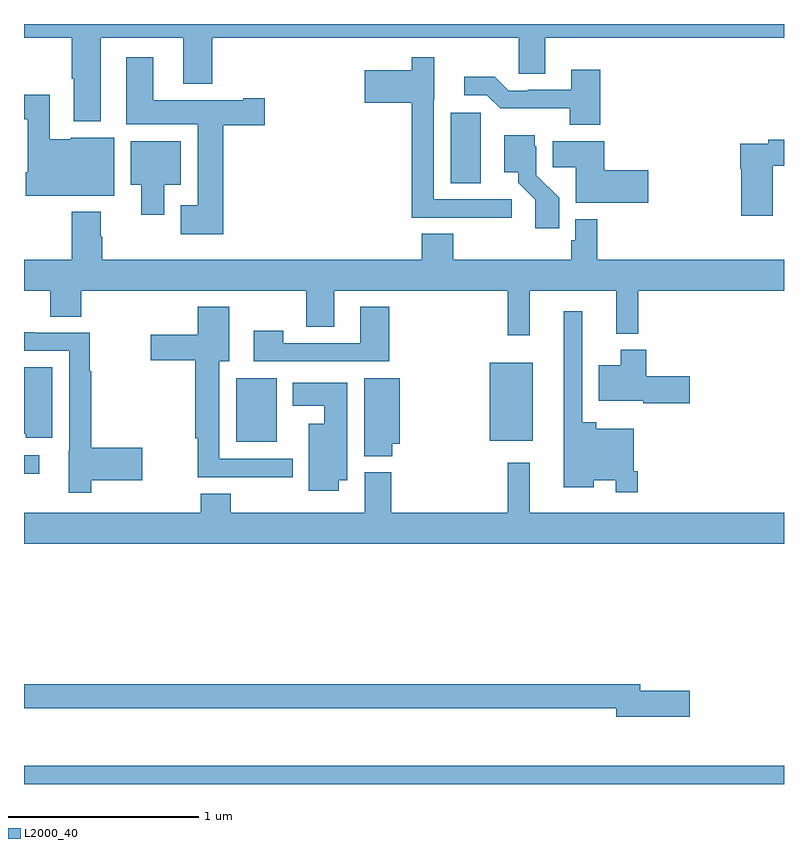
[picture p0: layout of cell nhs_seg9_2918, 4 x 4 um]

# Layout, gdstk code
import gdstk
lib = gdstk.Library(unit=1e-6, precision=1e-09)
def R(c, l, rs):  # rectangles x0, y0, x1, y1
    for r in rs: c.add(gdstk.rectangle(r[:2], r[2:], *l))
def P(c, l, *ps):  # polygons
    for p in ps: c.add(gdstk.Polygon(p, *l))
L2000_40 = (2000, 40)

nhs_seg9_2918 = lib.new_cell('nhs_seg9_2918')
R(nhs_seg9_2918, L2000_40, [(279,1184.5,283,1184.596), (279,1186.133,279.079,1186.23), (280.118,1186.301,280.33,1186.636), (281.45,1186.307,281.677,1186.717), (281.246,1187.662,281.404,1188.033)])
P(nhs_seg9_2918, L2000_40, [(279.403,1188.428),(279.839,1188.428),(279.839,1188.185),(279.992,1188.185),(279.992,1188.428),(281.604,1188.428),(281.604,1188.238),(281.743,1188.238),(281.743,1188.428),(283,1188.428),(283,1188.5),(279,1188.5),(279,1188.428),(279.251,1188.428),(279.251,1188.211),(279.263,1188.211),(279.263,1187.987),(279.403,1187.987)],
  [(280.049,1187.966),(280.267,1187.966),(280.267,1188.108),(280.154,1188.108),(280.154,1188.1),(279.679,1188.1),(279.679,1188.325),(279.539,1188.325),(279.539,1187.972),(279.914,1187.972),(279.914,1187.545),(279.824,1187.545),(279.824,1187.393),(280.049,1187.393)],
  [(281.566,1187.577),(281.157,1187.577),(281.157,1188.102),(281.158,1188.102),(281.158,1188.325),(281.041,1188.325),(281.041,1188.256),(280.794,1188.256),(280.794,1188.086),(281.041,1188.086),(281.041,1187.481),(281.341,1187.481),(281.341,1187.479),(281.566,1187.479)],
  [(282.032,1188.259),(281.879,1188.259),(281.879,1188.153),(281.65,1188.153),(281.65,1188.15),(281.55,1188.15),(281.477,1188.223),(281.316,1188.223),(281.316,1188.126),(281.436,1188.126),(281.507,1188.056),(281.872,1188.056),(281.872,1187.969),(282.032,1187.969)],
  [(279.475,1187.902),(279.246,1187.902),(279.246,1187.893),(279.135,1187.893),(279.135,1188.127),(279,1188.127),(279,1187.998),(279.019,1187.998),(279.019,1187.719),(279.008,1187.719),(279.008,1187.597),(279.475,1187.597)],
  [(281.816,1187.586),(281.697,1187.705),(281.697,1187.856),(281.689,1187.856),(281.689,1187.914),(281.528,1187.914),(281.528,1187.72),(281.6,1187.72),(281.6,1187.665),(281.691,1187.575),(281.691,1187.424),(281.816,1187.424)],
  [(282.94,1187.755),(283,1187.755),(283,1187.891),(282.916,1187.891),(282.916,1187.871),(282.77,1187.871),(282.77,1187.738),(282.775,1187.738),(282.775,1187.49),(282.94,1187.49)],
  [(282.286,1187.729),(282.053,1187.729),(282.053,1187.884),(281.782,1187.884),(281.782,1187.746),(281.903,1187.746),(281.903,1187.558),(282.286,1187.558)],
  [(279.739,1187.654),(279.826,1187.654),(279.826,1187.884),(279.563,1187.884),(279.563,1187.654),(279.617,1187.654),(279.617,1187.496),(279.739,1187.496)],
  [(281.258,1187.396),(281.093,1187.396),(281.093,1187.26),(279.411,1187.26),(279.411,1187.381),(279.403,1187.381),(279.403,1187.512),(279.251,1187.512),(279.251,1187.26),(279,1187.26),(279,1187.096),(279.137,1187.096),(279.137,1186.96),(279.302,1186.96),(279.302,1187.096),(280.486,1187.096),(280.486,1186.906),(280.633,1186.906),(280.633,1187.096),(281.545,1187.096),(281.545,1186.863),(281.663,1186.863),(281.663,1187.096),(282.116,1187.096),(282.116,1186.871),(282.233,1186.871),(282.233,1187.096),(283,1187.096),(283,1187.26),(282.017,1187.26),(282.017,1187.473),(281.901,1187.473),(281.901,1187.361),(281.881,1187.361),(281.881,1187.26),(281.258,1187.26)],
  [(280.922,1187.011),(280.769,1187.011),(280.769,1186.821),(280.365,1186.821),(280.365,1186.885),(280.209,1186.885),(280.209,1186.725),(280.922,1186.725)],
  [(280.414,1186.212),(280.027,1186.212),(280.027,1186.724),(280.081,1186.724),(280.081,1187.011),(279.914,1187.011),(279.914,1186.864),(279.666,1186.864),(279.666,1186.73),(279.902,1186.73),(279.902,1186.319),(279.914,1186.319),(279.914,1186.115),(280.414,1186.115)],
  [(282.23,1186.147),(282.21,1186.147),(282.21,1186.369),(282.011,1186.369),(282.011,1186.405),(281.937,1186.405),(281.937,1186.987),(281.84,1186.987),(281.84,1186.061),(281.998,1186.061),(281.998,1186.1),(282.114,1186.1),(282.114,1186.035),(282.23,1186.035)],
  [(279.353,1186.1),(279.622,1186.1),(279.622,1186.271),(279.353,1186.271),(279.353,1186.672),(279.346,1186.672),(279.346,1186.875),(279.053,1186.875),(279.053,1186.878),(279,1186.878),(279,1186.779),(279.237,1186.779),(279.237,1186.254),(279.236,1186.254),(279.236,1186.032),(279.353,1186.032)],
  [(282.505,1186.647),(282.275,1186.647),(282.275,1186.786),(282.14,1186.786),(282.14,1186.705),(282.026,1186.705),(282.026,1186.517),(282.258,1186.517),(282.258,1186.505),(282.505,1186.505)],
  [(279.148,1186.693),(279,1186.693),(279,1186.344),(279.009,1186.344),(279.009,1186.323),(279.148,1186.323)],
  [(280.937,1186.292),(280.978,1186.292),(280.978,1186.636),(280.79,1186.636),(280.79,1186.225),(280.937,1186.225)],
  [(280.657,1186.1),(280.702,1186.1),(280.702,1186.612),(280.415,1186.612),(280.415,1186.49),(280.58,1186.49),(280.58,1186.396),(280.499,1186.396),(280.499,1186.044),(280.657,1186.044)],
  [(283,1185.928),(281.662,1185.928),(281.662,1186.192),(281.545,1186.192),(281.545,1185.928),(280.934,1185.928),(280.934,1186.14),(280.793,1186.14),(280.793,1185.928),(280.089,1185.928),(280.089,1186.027),(279.929,1186.027),(279.929,1185.928),(279,1185.928),(279,1185.764),(283,1185.764)],
  [(282.505,1184.99),(282.244,1184.99),(282.244,1185.026),(279,1185.026),(279,1184.898),(282.116,1184.898),(282.116,1184.855),(282.505,1184.855)])

lib.write_gds('nhs_seg9_2918.gds')
